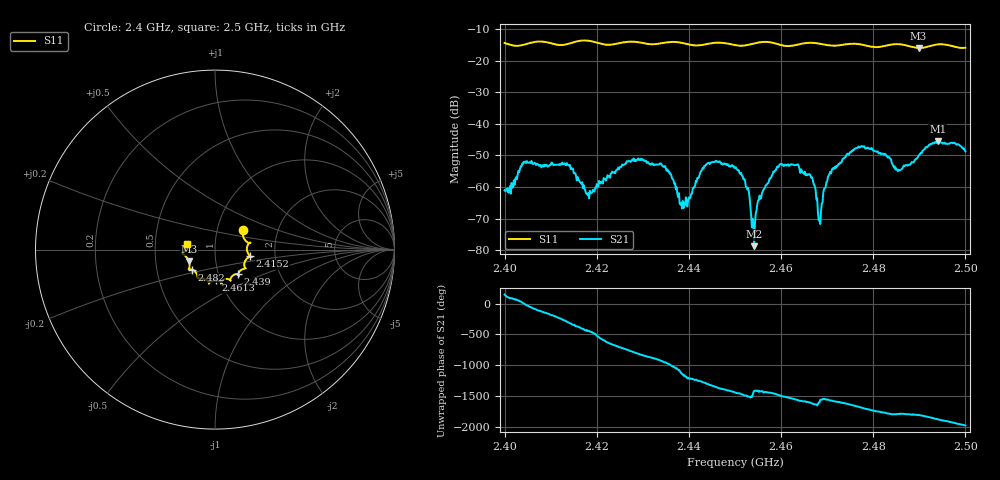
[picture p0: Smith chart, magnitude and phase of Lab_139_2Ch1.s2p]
# Hz S RI R 50
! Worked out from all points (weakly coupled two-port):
!   601 points, 2.4 GHz to 2.5 GHz, reference 50 ohm
!   highest |S21| = -45.51 dB at 2.494 GHz (marker M1); lowest = -78.7 dB at 2.4542 GHz (marker M2)
!   lowest |S11| = -15.9 dB at 2.4898 GHz (marker M3), VSWR 1.38, Z = 37 - j5 ohm
!   |S11| at or under -10 dB: start of sweep to end of sweep
!   S12 and S22 are empty: the file has one direction only
!   S11 on the Smith chart (normalised r, x): 2.4 GHz: 1.33, +0.31; 2.4152 GHz: 1.48, -0.11; 2.439 GHz: 1.24, -0.35; 2.4613 GHz: 0.96, -0.34; 2.482 GHz: 0.76, -0.17; 2.5 GHz: 0.73, +0.05
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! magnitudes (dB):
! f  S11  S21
! 2.4 GHz  -14.4  -61.0
! 2.4043 GHz  -14.8  -52.2
! 2.4152 GHz  -14.0  -55.6
! 2.4167 GHz  -13.6  -58.9
! 2.4333 GHz  -14.6  -52.9
! 2.439 GHz  -14.5  -65.2
! 2.4438 GHz  -14.7  -52.9
! 2.45 GHz  -15.0  -54.0
! 2.4525 GHz  -15.1  -60.0
! 2.4542 GHz  -14.5  -78.7
! 2.4565 GHz  -14.0  -60.2
! 2.4613 GHz  -15.3  -53.1
! 2.4667 GHz  -14.3  -56.8
! 2.4685 GHz  -14.6  -71.7
! 2.4707 GHz  -15.1  -55.2
! 2.474 GHz  -14.8  -50.6
! 2.482 GHz  -15.5  -49.4
! 2.4833 GHz  -15.0  -50.6
! 2.4857 GHz  -14.7  -54.7
! 2.4898 GHz  -15.9  -50.0
! 2.494 GHz  -14.8  -45.5
! 2.5 GHz  -15.9  -48.7
